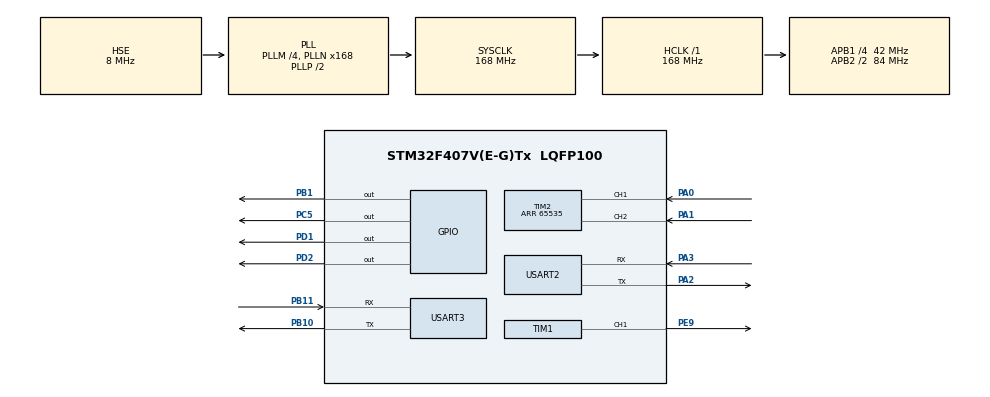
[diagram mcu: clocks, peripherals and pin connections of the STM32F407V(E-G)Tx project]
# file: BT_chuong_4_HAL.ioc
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Dma.Request0=USART2_RX
Dma.Request1=USART2_TX
Dma.Request2=USART3_RX
Dma.Request3=USART3_TX
Dma.USART2_RX.0.Direction=DMA_PERIPH_TO_MEMORY
Dma.USART2_RX.0.FIFOMode=DMA_FIFOMODE_DISABLE
Dma.USART2_RX.0.Instance=DMA1_Stream5
Dma.USART2_RX.0.MemDataAlignment=DMA_MDATAALIGN_BYTE
Dma.USART2_RX.0.MemInc=DMA_MINC_ENABLE
Dma.USART2_RX.0.Mode=DMA_NORMAL
Dma.USART2_RX.0.PeriphDataAlignment=DMA_PDATAALIGN_BYTE
Dma.USART2_RX.0.PeriphInc=DMA_PINC_DISABLE
Dma.USART2_RX.0.Priority=DMA_PRIORITY_LOW
Dma.USART2_TX.1.Direction=DMA_MEMORY_TO_PERIPH
Dma.USART2_TX.1.FIFOMode=DMA_FIFOMODE_DISABLE
Dma.USART2_TX.1.Instance=DMA1_Stream6
Dma.USART2_TX.1.MemDataAlignment=DMA_MDATAALIGN_BYTE
Dma.USART2_TX.1.MemInc=DMA_MINC_ENABLE
Dma.USART2_TX.1.Mode=DMA_NORMAL
Dma.USART2_TX.1.PeriphDataAlignment=DMA_PDATAALIGN_BYTE
Dma.USART2_TX.1.PeriphInc=DMA_PINC_DISABLE
Dma.USART2_TX.1.Priority=DMA_PRIORITY_LOW
Dma.USART3_RX.2.Direction=DMA_PERIPH_TO_MEMORY
Dma.USART3_RX.2.FIFOMode=DMA_FIFOMODE_DISABLE
Dma.USART3_RX.2.Instance=DMA1_Stream1
Dma.USART3_RX.2.MemDataAlignment=DMA_MDATAALIGN_BYTE
Dma.USART3_RX.2.MemInc=DMA_MINC_ENABLE
Dma.USART3_RX.2.Mode=DMA_NORMAL
Dma.USART3_RX.2.PeriphDataAlignment=DMA_PDATAALIGN_BYTE
Dma.USART3_RX.2.PeriphInc=DMA_PINC_DISABLE
Dma.USART3_RX.2.Priority=DMA_PRIORITY_LOW
Dma.USART3_TX.3.Direction=DMA_MEMORY_TO_PERIPH
Dma.USART3_TX.3.FIFOMode=DMA_FIFOMODE_DISABLE
Dma.USART3_TX.3.Instance=DMA1_Stream3
Dma.USART3_TX.3.MemDataAlignment=DMA_MDATAALIGN_BYTE
Dma.USART3_TX.3.MemInc=DMA_MINC_ENABLE
Dma.USART3_TX.3.Mode=DMA_NORMAL
Dma.USART3_TX.3.PeriphDataAlignment=DMA_PDATAALIGN_BYTE
Dma.USART3_TX.3.PeriphInc=DMA_PINC_DISABLE
Dma.USART3_TX.3.Priority=DMA_PRIORITY_LOW
Mcu.Family=STM32F4
Mcu.Name=STM32F407V(E-G)Tx
Mcu.Package=LQFP100
NVIC.DMA1_Stream1_IRQn=true\:0\:0\:false\:false\:true\:false\:true\:true
NVIC.DMA1_Stream3_IRQn=true\:0\:0\:false\:false\:true\:false\:true\:true
NVIC.DMA1_Stream5_IRQn=true\:0\:0\:false\:false\:true\:false\:true\:true
NVIC.DMA1_Stream6_IRQn=true\:0\:0\:false\:false\:true\:false\:true\:true
NVIC.PriorityGroup=NVIC_PRIORITYGROUP_4
NVIC.TIM2_IRQn=true\:0\:0\:false\:false\:true\:true\:true\:true
NVIC.TIM3_IRQn=true\:0\:0\:false\:false\:true\:true\:true\:true
NVIC.TIM4_IRQn=true\:0\:0\:false\:false\:true\:true\:true\:true
NVIC.USART2_IRQn=true\:0\:0\:false\:false\:true\:true\:true\:true
NVIC.USART3_IRQn=true\:0\:0\:false\:false\:true\:true\:true\:true
PA0-WKUP.Signal=S_TIM2_CH1_ETR
PA1.Signal=S_TIM2_CH2
PA13.Mode=Serial_Wire
PA13.Signal=SYS_JTMS-SWDIO
PA14.Mode=Serial_Wire
PA14.Signal=SYS_JTCK-SWCLK
PA2.Mode=Asynchronous
PA2.Signal=USART2_TX
PA3.Mode=Asynchronous
PA3.Signal=USART2_RX
PB1.Signal=GPIO_Output
PB10.Mode=Asynchronous
PB10.Signal=USART3_TX
PB11.Mode=Asynchronous
PB11.Signal=USART3_RX
PC5.Signal=GPIO_Output
PD1.Signal=GPIO_Output
PD2.Signal=GPIO_Output
PE9.Signal=S_TIM1_CH1
PH0-OSC_IN.Mode=HSE-External-Oscillator
PH0-OSC_IN.Signal=RCC_OSC_IN
PH1-OSC_OUT.Mode=HSE-External-Oscillator
PH1-OSC_OUT.Signal=RCC_OSC_OUT
ProjectManager.HeapSize=0x200
ProjectManager.StackSize=0x400
ProjectManager.TargetToolchain=MDK-ARM V5.32
RCC.48MHZClocksFreq_Value=84000000
RCC.AHBFreq_Value=168000000
RCC.APB1CLKDivider=RCC_HCLK_DIV4
RCC.APB1Freq_Value=42000000
RCC.APB1TimFreq_Value=84000000
RCC.APB2CLKDivider=RCC_HCLK_DIV2
RCC.APB2Freq_Value=84000000
RCC.APB2TimFreq_Value=168000000
RCC.CortexFreq_Value=168000000
RCC.HCLKFreq_Value=168000000
RCC.HSE_VALUE=8000000
RCC.HSI_VALUE=16000000
RCC.LSE_VALUE=32768
RCC.PLLM=4
RCC.PLLN=168
RCC.PLLSourceVirtual=RCC_PLLSOURCE_HSE
RCC.SYSCLKFreq_VALUE=168000000
RCC.SYSCLKSource=RCC_SYSCLKSOURCE_PLLCLK
RCC.VCOOutputFreq_Value=336000000
SH.S_TIM1_CH1.0=TIM1_CH1,PWM Generation1 CH1
SH.S_TIM2_CH1_ETR.0=TIM2_CH1,Encoder_Interface
SH.S_TIM2_CH2.0=TIM2_CH2,Encoder_Interface
TIM1.Channel-PWM\ Generation1\ CH1=TIM_CHANNEL_1
TIM1.Period=199
TIM1.Prescaler=41
TIM2.EncoderMode=TIM_ENCODERMODE_TI12
TIM2.IC1Filter=10
TIM2.IC2Filter=10
TIM2.Period=65535
TIM3.Period=999
TIM3.Prescaler=83
TIM4.Period=999
TIM4.Prescaler=8399
USART2.VirtualMode=VM_ASYNC
USART3.VirtualMode=VM_ASYNC
VP_TIM1_VS_ClockSourceINT.Mode=Internal
VP_TIM3_VS_ClockSourceINT.Mode=Internal
VP_TIM4_VS_ClockSourceINT.Mode=Internal
board=custom

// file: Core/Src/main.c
/* USER CODE BEGIN Header */
/**
  ******************************************************************************
  * @file           : main.c
  * @brief          : Main program body
  ******************************************************************************
  * @attention
  *
  * Copyright (c) 2023 STMicroelectronics.
  * All rights reserved.
  *
  * This software is licensed under terms that can be found in the LICENSE file
  * in the root directory of this software component.
  * If no LICENSE file comes with this software, it is provided AS-IS.
  *
  ******************************************************************************
  */
/* USER CODE END Header */
#include "main.h"

/* USER CODE BEGIN Includes */
#include <stdbool.h>
#include <string.h>
#include <math.h>
#include <stdint.h>
/* USER CODE END Includes */

/* USER CODE BEGIN PD */
#define PULSE_PER_REVOLUTION 260
#define RX_BUFF_SIZE 20
#define TX_BUFF_SIZE 20
#define SET_TARGET_POSITION 0x01
#define SET_MODE_READ_ENCODER 0x02
#define SET_PID_PARAMTER 0x03

/* USER CODE END PD */

TIM_HandleTypeDef htim1;
TIM_HandleTypeDef htim2;
TIM_HandleTypeDef htim3;
TIM_HandleTypeDef htim4;

UART_HandleTypeDef huart2;
UART_HandleTypeDef huart3;
DMA_HandleTypeDef hdma_usart2_rx;
DMA_HandleTypeDef hdma_usart2_tx;
DMA_HandleTypeDef hdma_usart3_rx;
DMA_HandleTypeDef hdma_usart3_tx;

/* USER CODE BEGIN PV */

// Variables for reading encoder
uint8_t encoder_mode = 4; // mode x1 and x4
volatile short enc_val = 0; // encoder value
volatile short enc_val_x1 = 0;// encoder value at mode x1
int8_t encoder_direction_CCW; // 1 = clockwise, 0 = counter clockwise
int8_t motor_direction; // 1 = clockwise, 0 = counter clockwise
float current_position = 0.0; // unit deg

// Variables for setpoint value
float target_position = 0; // unit deg

// Variables for control motor
uint16_t PWMvalue = 0;

// Variables for PID
bool start_pid = false;
float K_p = 0.5; 	//k_p = 0.28
float K_i = 0.0003; //k_i = 0.0001
float K_d = 0.1; 		//k_d = 0.1

// PID_related
//float e_dot = 0;
//float error_I = 0;

//float pre_control_signal = 0; // pre u
//float pre_previous_error = 0; // for calculating the derivative (edot)

float error_value = 0; //error
float previous_error = 0; //for calculating the derivative (edot)
float P_part, I_part, D_part;
float control_signal = 0; //u - Also called as process variable (PV)
float T = 0.001; // control period in s (1ms)

// Variables for sending data through Usart
uint8_t Rx_buff[RX_BUFF_SIZE];
uint8_t Tx_buff[TX_BUFF_SIZE];
uint8_t main_buff[RX_BUFF_SIZE];
uint8_t sub_main_buff[4];
bool update_paramter = false;
/* USER CODE END PV */

void SystemClock_Config(void);
static void MX_GPIO_Init(void);
static void MX_DMA_Init(void);
static void MX_TIM1_Init(void);
static void MX_TIM2_Init(void);
static void MX_USART2_UART_Init(void);
static void MX_TIM3_Init(void);
static void MX_TIM4_Init(void);
static void MX_USART3_UART_Init(void);
/* USER CODE BEGIN PFP */
// Auxiliary function
float convertUint8ArrayToFloat(uint8_t array[4]);
void floatToByteArray(float floatValue, uint8_t byteArray[4]);

// function for motor
void calculateAnglePosition(void);
void calculatePID(void);
void driveMotor(void);

// function for uart
void sendCurrentPosition(void);

/* USER CODE END PFP */

int main(void)
{

  /* MCU Configuration--------------------------------------------------------*/

  /* Reset of all peripherals, Initializes the Flash interface and the Systick. */
  HAL_Init();

  /* Configure the system clock */
  SystemClock_Config();

  /* Initialize all configured peripherals */
  MX_GPIO_Init();
  MX_DMA_Init();
  MX_TIM1_Init();
  MX_TIM2_Init();
  MX_USART2_UART_Init();
  MX_TIM3_Init();
  MX_TIM4_Init();
  MX_USART3_UART_Init();
  /* USER CODE BEGIN 2 */
	HAL_TIM_PWM_Start(&htim1,TIM_CHANNEL_1); // start timer1 for pwm

	HAL_TIM_IC_Start_IT(&htim2,TIM_CHANNEL_1);  // start timer2 input capture to read encoder mode x1
	HAL_TIM_IC_Start_IT(&htim2,TIM_CHANNEL_2);
	HAL_TIM_Encoder_Start(&htim2,TIM_CHANNEL_1); // start timer2 encoder interface to read encoder mode x4
	HAL_TIM_Encoder_Start(&htim2,TIM_CHANNEL_2);

	HAL_TIM_Base_Start_IT(&htim3); // start timer for 1ms pid control cycle
	HAL_TIM_Base_Start_IT(&htim4); // start timer for 100ms send current position

	HAL_UARTEx_ReceiveToIdle_DMA(&huart3, Rx_buff, RX_BUFF_SIZE); // start uart2 rx dma idle
  /* USER CODE END 2 */

  /* Infinite loop */
  while (1)
  {

    /* USER CODE BEGIN 3 */
		if (start_pid)
		{
			start_pid = false;
			calculateAnglePosition();
			calculatePID();
			driveMotor();
			sendCurrentPosition();
		}
		if (update_paramter)
		{
			update_paramter = false;
			switch (main_buff[3])
			{
				case SET_MODE_READ_ENCODER:
					encoder_mode = main_buff[4];
				break;

				case SET_TARGET_POSITION:
					for (uint8_t i = 0; i < 4; i++)
					{
						sub_main_buff[i] = main_buff[i+4];
					}
					target_position = convertUint8ArrayToFloat(sub_main_buff);
				break;

				case SET_PID_PARAMTER:
					for (uint8_t i = 0; i < 4; i++)
					{
						sub_main_buff[i] = main_buff[i+4];
					}
					K_p = convertUint8ArrayToFloat(sub_main_buff);
					for (uint8_t i = 0; i < 4; i++)
					{
						sub_main_buff[i] = main_buff[i+8];
					}
					K_d = convertUint8ArrayToFloat(sub_main_buff);
					for (uint8_t i = 0; i < 4; i++)
					{
						sub_main_buff[i] = main_buff[i+12];
					}
					K_i = convertUint8ArrayToFloat(sub_main_buff);
				break;
			}
		}
  }
  /* USER CODE END 3 */
}

void SystemClock_Config(void)
{
  RCC_OscInitTypeDef RCC_OscInitStruct = {0};
  RCC_ClkInitTypeDef RCC_ClkInitStruct = {0};

  /** Configure the main internal regulator output voltage
  */
  __HAL_RCC_PWR_CLK_ENABLE();
  __HAL_PWR_VOLTAGESCALING_CONFIG(PWR_REGULATOR_VOLTAGE_SCALE1);

  /** Initializes the RCC Oscillators according to the specified parameters
  * in the RCC_OscInitTypeDef structure.
  */
  RCC_OscInitStruct.OscillatorType = RCC_OSCILLATORTYPE_HSE;
  RCC_OscInitStruct.HSEState = RCC_HSE_ON;
  RCC_OscInitStruct.PLL.PLLState = RCC_PLL_ON;
  RCC_OscInitStruct.PLL.PLLSource = RCC_PLLSOURCE_HSE;
  RCC_OscInitStruct.PLL.PLLM = 4;
  RCC_OscInitStruct.PLL.PLLN = 168;
  RCC_OscInitStruct.PLL.PLLP = RCC_PLLP_DIV2;
  RCC_OscInitStruct.PLL.PLLQ = 4;
  if (HAL_RCC_OscConfig(&RCC_OscInitStruct) != HAL_OK)
  {
    Error_Handler();
  }

  /** Initializes the CPU, AHB and APB buses clocks
  */
  RCC_ClkInitStruct.ClockType = RCC_CLOCKTYPE_HCLK|RCC_CLOCKTYPE_SYSCLK
                              |RCC_CLOCKTYPE_PCLK1|RCC_CLOCKTYPE_PCLK2;
  RCC_ClkInitStruct.SYSCLKSource = RCC_SYSCLKSOURCE_PLLCLK;
  RCC_ClkInitStruct.AHBCLKDivider = RCC_SYSCLK_DIV1;
  RCC_ClkInitStruct.APB1CLKDivider = RCC_HCLK_DIV4;
  RCC_ClkInitStruct.APB2CLKDivider = RCC_HCLK_DIV2;

  if (HAL_RCC_ClockConfig(&RCC_ClkInitStruct, FLASH_LATENCY_5) != HAL_OK)
  {
    Error_Handler();
  }
}

static void MX_TIM1_Init(void)
{

  TIM_ClockConfigTypeDef sClockSourceConfig = {0};
  TIM_MasterConfigTypeDef sMasterConfig = {0};
  TIM_OC_InitTypeDef sConfigOC = {0};
  TIM_BreakDeadTimeConfigTypeDef sBreakDeadTimeConfig = {0};

  htim1.Instance = TIM1;
  htim1.Init.Prescaler = 41;
  htim1.Init.CounterMode = TIM_COUNTERMODE_UP;
  htim1.Init.Period = 199;
  htim1.Init.ClockDivision = TIM_CLOCKDIVISION_DIV1;
  htim1.Init.RepetitionCounter = 0;
  htim1.Init.AutoReloadPreload = TIM_AUTORELOAD_PRELOAD_DISABLE;
  if (HAL_TIM_Base_Init(&htim1) != HAL_OK)
  {
    Error_Handler();
  }
  sClockSourceConfig.ClockSource = TIM_CLOCKSOURCE_INTERNAL;
  if (HAL_TIM_ConfigClockSource(&htim1, &sClockSourceConfig) != HAL_OK)
  {
    Error_Handler();
  }
  if (HAL_TIM_PWM_Init(&htim1) != HAL_OK)
  {
    Error_Handler();
  }
  sMasterConfig.MasterOutputTrigger = TIM_TRGO_RESET;
  sMasterConfig.MasterSlaveMode = TIM_MASTERSLAVEMODE_DISABLE;
  if (HAL_TIMEx_MasterConfigSynchronization(&htim1, &sMasterConfig) != HAL_OK)
  {
    Error_Handler();
  }
  sConfigOC.OCMode = TIM_OCMODE_PWM1;
  sConfigOC.Pulse = 0;
  sConfigOC.OCPolarity = TIM_OCPOLARITY_HIGH;
  sConfigOC.OCNPolarity = TIM_OCNPOLARITY_HIGH;
  sConfigOC.OCFastMode = TIM_OCFAST_DISABLE;
  sConfigOC.OCIdleState = TIM_OCIDLESTATE_RESET;
  sConfigOC.OCNIdleState = TIM_OCNIDLESTATE_RESET;
  if (HAL_TIM_PWM_ConfigChannel(&htim1, &sConfigOC, TIM_CHANNEL_1) != HAL_OK)
  {
    Error_Handler();
  }
  sBreakDeadTimeConfig.OffStateRunMode = TIM_OSSR_DISABLE;
  sBreakDeadTimeConfig.OffStateIDLEMode = TIM_OSSI_DISABLE;
  sBreakDeadTimeConfig.LockLevel = TIM_LOCKLEVEL_OFF;
  sBreakDeadTimeConfig.DeadTime = 0;
  sBreakDeadTimeConfig.BreakState = TIM_BREAK_DISABLE;
  sBreakDeadTimeConfig.BreakPolarity = TIM_BREAKPOLARITY_HIGH;
  sBreakDeadTimeConfig.AutomaticOutput = TIM_AUTOMATICOUTPUT_DISABLE;
  if (HAL_TIMEx_ConfigBreakDeadTime(&htim1, &sBreakDeadTimeConfig) != HAL_OK)
  {
    Error_Handler();
  }
  HAL_TIM_MspPostInit(&htim1);

}

static void MX_TIM2_Init(void)
{

  TIM_Encoder_InitTypeDef sConfig = {0};
  TIM_MasterConfigTypeDef sMasterConfig = {0};

  htim2.Instance = TIM2;
  htim2.Init.Prescaler = 0;
  htim2.Init.CounterMode = TIM_COUNTERMODE_UP;
  htim2.Init.Period = 65535;
  htim2.Init.ClockDivision = TIM_CLOCKDIVISION_DIV1;
  htim2.Init.AutoReloadPreload = TIM_AUTORELOAD_PRELOAD_DISABLE;
  sConfig.EncoderMode = TIM_ENCODERMODE_TI12;
  sConfig.IC1Polarity = TIM_ICPOLARITY_RISING;
  sConfig.IC1Selection = TIM_ICSELECTION_DIRECTTI;
  sConfig.IC1Prescaler = TIM_ICPSC_DIV1;
  sConfig.IC1Filter = 10;
  sConfig.IC2Polarity = TIM_ICPOLARITY_RISING;
  sConfig.IC2Selection = TIM_ICSELECTION_DIRECTTI;
  sConfig.IC2Prescaler = TIM_ICPSC_DIV1;
  sConfig.IC2Filter = 10;
  if (HAL_TIM_Encoder_Init(&htim2, &sConfig) != HAL_OK)
  {
    Error_Handler();
  }
  sMasterConfig.MasterOutputTrigger = TIM_TRGO_RESET;
  sMasterConfig.MasterSlaveMode = TIM_MASTERSLAVEMODE_DISABLE;
  if (HAL_TIMEx_MasterConfigSynchronization(&htim2, &sMasterConfig) != HAL_OK)
  {
    Error_Handler();
  }

}

static void MX_TIM3_Init(void)
{

  TIM_ClockConfigTypeDef sClockSourceConfig = {0};
  TIM_MasterConfigTypeDef sMasterConfig = {0};

  htim3.Instance = TIM3;
  htim3.Init.Prescaler = 83;
  htim3.Init.CounterMode = TIM_COUNTERMODE_UP;
  htim3.Init.Period = 999;
  htim3.Init.ClockDivision = TIM_CLOCKDIVISION_DIV1;
  htim3.Init.AutoReloadPreload = TIM_AUTORELOAD_PRELOAD_DISABLE;
  if (HAL_TIM_Base_Init(&htim3) != HAL_OK)
  {
    Error_Handler();
  }
  sClockSourceConfig.ClockSource = TIM_CLOCKSOURCE_INTERNAL;
  if (HAL_TIM_ConfigClockSource(&htim3, &sClockSourceConfig) != HAL_OK)
  {
    Error_Handler();
  }
  sMasterConfig.MasterOutputTrigger = TIM_TRGO_RESET;
  sMasterConfig.MasterSlaveMode = TIM_MASTERSLAVEMODE_DISABLE;
  if (HAL_TIMEx_MasterConfigSynchronization(&htim3, &sMasterConfig) != HAL_OK)
  {
    Error_Handler();
  }

}

static void MX_TIM4_Init(void)
{

  TIM_ClockConfigTypeDef sClockSourceConfig = {0};
  TIM_MasterConfigTypeDef sMasterConfig = {0};

  htim4.Instance = TIM4;
  htim4.Init.Prescaler = 8399;
  htim4.Init.CounterMode = TIM_COUNTERMODE_UP;
  htim4.Init.Period = 999;
  htim4.Init.ClockDivision = TIM_CLOCKDIVISION_DIV1;
  htim4.Init.AutoReloadPreload = TIM_AUTORELOAD_PRELOAD_DISABLE;
  if (HAL_TIM_Base_Init(&htim4) != HAL_OK)
  {
    Error_Handler();
  }
  sClockSourceConfig.ClockSource = TIM_CLOCKSOURCE_INTERNAL;
  if (HAL_TIM_ConfigClockSource(&htim4, &sClockSourceConfig) != HAL_OK)
  {
    Error_Handler();
  }
  sMasterConfig.MasterOutputTrigger = TIM_TRGO_RESET;
  sMasterConfig.MasterSlaveMode = TIM_MASTERSLAVEMODE_DISABLE;
  if (HAL_TIMEx_MasterConfigSynchronization(&htim4, &sMasterConfig) != HAL_OK)
  {
    Error_Handler();
  }

}

static void MX_USART2_UART_Init(void)
{

  huart2.Instance = USART2;
  huart2.Init.BaudRate = 115200;
  huart2.Init.WordLength = UART_WORDLENGTH_8B;
  huart2.Init.StopBits = UART_STOPBITS_1;
  huart2.Init.Parity = UART_PARITY_NONE;
  huart2.Init.Mode = UART_MODE_TX_RX;
  huart2.Init.HwFlowCtl = UART_HWCONTROL_NONE;
  huart2.Init.OverSampling = UART_OVERSAMPLING_16;
  if (HAL_UART_Init(&huart2) != HAL_OK)
  {
    Error_Handler();
  }

}

static void MX_USART3_UART_Init(void)
{

  huart3.Instance = USART3;
  huart3.Init.BaudRate = 115200;
  huart3.Init.WordLength = UART_WORDLENGTH_8B;
  huart3.Init.StopBits = UART_STOPBITS_1;
  huart3.Init.Parity = UART_PARITY_NONE;
  huart3.Init.Mode = UART_MODE_TX_RX;
  huart3.Init.HwFlowCtl = UART_HWCONTROL_NONE;
  huart3.Init.OverSampling = UART_OVERSAMPLING_16;
  if (HAL_UART_Init(&huart3) != HAL_OK)
  {
    Error_Handler();
  }

}

static void MX_DMA_Init(void)
{

  /* DMA controller clock enable */
  __HAL_RCC_DMA1_CLK_ENABLE();

  /* DMA interrupt init */
  /* DMA1_Stream1_IRQn interrupt configuration */
  HAL_NVIC_SetPriority(DMA1_Stream1_IRQn, 0, 0);
  HAL_NVIC_EnableIRQ(DMA1_Stream1_IRQn);
  /* DMA1_Stream3_IRQn interrupt configuration */
  HAL_NVIC_SetPriority(DMA1_Stream3_IRQn, 0, 0);
  HAL_NVIC_EnableIRQ(DMA1_Stream3_IRQn);
  /* DMA1_Stream5_IRQn interrupt configuration */
  HAL_NVIC_SetPriority(DMA1_Stream5_IRQn, 0, 0);
  HAL_NVIC_EnableIRQ(DMA1_Stream5_IRQn);
  /* DMA1_Stream6_IRQn interrupt configuration */
  HAL_NVIC_SetPriority(DMA1_Stream6_IRQn, 0, 0);
  HAL_NVIC_EnableIRQ(DMA1_Stream6_IRQn);

}

static void MX_GPIO_Init(void)
{
  GPIO_InitTypeDef GPIO_InitStruct = {0};

  /* GPIO Ports Clock Enable */
  __HAL_RCC_GPIOH_CLK_ENABLE();
  __HAL_RCC_GPIOA_CLK_ENABLE();
  __HAL_RCC_GPIOC_CLK_ENABLE();
  __HAL_RCC_GPIOB_CLK_ENABLE();
  __HAL_RCC_GPIOE_CLK_ENABLE();
  __HAL_RCC_GPIOD_CLK_ENABLE();

  /*Configure GPIO pin Output Level */
  HAL_GPIO_WritePin(GPIOC, GPIO_PIN_5, GPIO_PIN_RESET);

  /*Configure GPIO pin Output Level */
  HAL_GPIO_WritePin(GPIOB, GPIO_PIN_1, GPIO_PIN_RESET);

  /*Configure GPIO pin Output Level */
  HAL_GPIO_WritePin(GPIOD, GPIO_PIN_1|GPIO_PIN_2, GPIO_PIN_RESET);

  /*Configure GPIO pin : PC5 */
  GPIO_InitStruct.Pin = GPIO_PIN_5;
  GPIO_InitStruct.Mode = GPIO_MODE_OUTPUT_PP;
  GPIO_InitStruct.Pull = GPIO_NOPULL;
  GPIO_InitStruct.Speed = GPIO_SPEED_FREQ_LOW;
  HAL_GPIO_Init(GPIOC, &GPIO_InitStruct);

  /*Configure GPIO pin : PB1 */
  GPIO_InitStruct.Pin = GPIO_PIN_1;
  GPIO_InitStruct.Mode = GPIO_MODE_OUTPUT_PP;
  GPIO_InitStruct.Pull = GPIO_NOPULL;
  GPIO_InitStruct.Speed = GPIO_SPEED_FREQ_LOW;
  HAL_GPIO_Init(GPIOB, &GPIO_InitStruct);

  /*Configure GPIO pins : PD1 PD2 */
  GPIO_InitStruct.Pin = GPIO_PIN_1|GPIO_PIN_2;
  GPIO_InitStruct.Mode = GPIO_MODE_OUTPUT_PP;
  GPIO_InitStruct.Pull = GPIO_NOPULL;
  GPIO_InitStruct.Speed = GPIO_SPEED_FREQ_LOW;
  HAL_GPIO_Init(GPIOD, &GPIO_InitStruct);

}

/* USER CODE BEGIN 4 */
// handles data of Rx_buff when complete receive MAX_LEN byte from pc
void HAL_UARTEx_RxEventCallback(UART_HandleTypeDef *huart, uint16_t Size)
{
		if(huart->Instance == huart3.Instance)
		{
			memcpy(main_buff, Rx_buff, Size); // get data
			if (main_buff[0] == 0x0A && main_buff[1] == 0x55 && (Size - 4) == main_buff[2]) // check header and length
			{
				memcpy(Tx_buff, main_buff, Size);
				Tx_buff[Size-1] = 0x06; // change SYNC to ACK
				HAL_UART_Transmit_DMA(&huart3, Tx_buff, Size); // send back to pc
				update_paramter = true; // turn on flag
			}
			HAL_UARTEx_ReceiveToIdle_DMA(&huart3, Rx_buff, RX_BUFF_SIZE); // start uart rx DMA again
		}
}

// timer 2 interup input capture to read encoder
void HAL_TIM_IC_CaptureCallback(TIM_HandleTypeDef *htim)
{
  /* Prevent unused argument(s) compilation warning */
  UNUSED(htim);
	/* read encoder mode x1 */
	if (encoder_mode == 1)
	{
		encoder_direction_CCW =__HAL_TIM_IS_TIM_COUNTING_DOWN(&htim2);
		if (htim->Channel == HAL_TIM_ACTIVE_CHANNEL_1)
		{
			if (encoder_direction_CCW == 1)
			{
				enc_val_x1--;
			}
			else if (encoder_direction_CCW == 0)
			{
				enc_val_x1++;
			}
		}
		enc_val = enc_val_x1;
	}

	/* read encoder mode x4 */
	if (encoder_mode == 4){
		enc_val = __HAL_TIM_GET_COUNTER(&htim2) ;
	}
}

// timer3 call back every 1ms for PID control, timer 4 call back every 100ms to send current position
void HAL_TIM_PeriodElapsedCallback(TIM_HandleTypeDef *htim)
{
	if(htim->Instance == TIM3)
	{
		start_pid = true; // turn on flag
	}
//	if(htim->Instance == TIM4)
//	{
//		sendCurrentPosition();
//	}
}

void calculateAnglePosition(void)
{
	current_position = (enc_val * 360)/(encoder_mode * PULSE_PER_REVOLUTION);
	if(current_position > 361)
	{
		enc_val = enc_val % (encoder_mode * PULSE_PER_REVOLUTION);
		current_position = (enc_val * 360)/(encoder_mode * PULSE_PER_REVOLUTION);
	}
	if(current_position < -361)
	{
		enc_val = enc_val % (encoder_mode * PULSE_PER_REVOLUTION);
		current_position = (enc_val * 360)/(encoder_mode * PULSE_PER_REVOLUTION);
	}
}

void calculatePID(void)
{
/* old ver */
//  error_value =  target_position - current_position;
//	P_part = K_p * (error_value - previous_error);
//	I_part = 0.5 * K_i * T * (error_value + previous_error);
//	D_part = (K_d * (error_value - 2 * previous_error + pre_previous_error))/T;

//  control_signal = pre_control_signal + P_part + I_part + D_part;
//
//	if (control_signal > 199) control_signal = 199;
//	if (control_signal < -1 && control_signal > -13) control_signal = -13;
//	if (control_signal < -199) control_signal = -199;
//  if (control_signal > 1 && control_signal < 13) control_signal = 13;
//
//	/* save previous value for the next calculated iteration */
//	pre_previous_error = previous_error;
//  previous_error = error_value;
//	pre_control_signal = control_signal;

/* new ver */
		error_value =   target_position - current_position ;
		P_part = (K_p*error_value);
		I_part = I_part + K_i*error_value*T;
		D_part = K_d*(error_value - previous_error)/T;
		control_signal = P_part + D_part + I_part;
		previous_error = error_value;
}

void driveMotor(void)
{
/* old ver */
//Determine speed and direction based on the value of the control signal
//direction
//  if (control_signal < 0) //negative value: CCW
//  {
//		motor_direction = -1;
//		PWMvalue = (uint16_t)(fabs(control_signal)); //PWM values cannot be negative and have to be integers
//		HAL_GPIO_WritePin(GPIOD,GPIO_PIN_1,GPIO_PIN_RESET);
//		HAL_GPIO_WritePin(GPIOD,GPIO_PIN_2,GPIO_PIN_SET);
//  }
//  else if (control_signal > 0) //positive: CW
//  {
//		motor_direction = 1;
//		PWMvalue = (uint16_t)control_signal;
//		HAL_GPIO_WritePin(GPIOD,GPIO_PIN_1,GPIO_PIN_SET);
//		HAL_GPIO_WritePin(GPIOD,GPIO_PIN_2,GPIO_PIN_RESET);
//  }
//  else //0: STOP - this might be a bad practice when you overshoot the setpoint
//  {
//		motor_direction = 0;
//		PWMvalue = 0;
//		HAL_GPIO_WritePin(GPIOD,GPIO_PIN_1,GPIO_PIN_RESET);
//		HAL_GPIO_WritePin(GPIOD,GPIO_PIN_2,GPIO_PIN_RESET);
//  }
//	if (PWMvalue > 199)
//	{
//		PWMvalue = 199;
//	}
//	if (PWMvalue < 11 && fabs(error_value) != 0)
//	{
//		PWMvalue = 11;
//	}

/* new ver */
		if (control_signal < 0)
		{
			motor_direction = -1;
		}
		else if (control_signal > 0)
		{
			motor_direction = 1;
		}
		else
		{
			motor_direction = 0;
		}

		PWMvalue = (uint16_t)fabs(control_signal);

		if (PWMvalue > 199)
		{
			PWMvalue = 199;
		}
		if (PWMvalue < 12 && error_value != 0)
		{
			PWMvalue = 12;
		}
		if (motor_direction == -1)
		{
			HAL_GPIO_WritePin(GPIOB,GPIO_PIN_1,GPIO_PIN_RESET);
			HAL_GPIO_WritePin(GPIOC,GPIO_PIN_5,GPIO_PIN_SET);
		}
		else if (motor_direction == 1)
		{
			HAL_GPIO_WritePin(GPIOB,GPIO_PIN_1,GPIO_PIN_SET);
			HAL_GPIO_WritePin(GPIOC,GPIO_PIN_5,GPIO_PIN_RESET);
		}
		else
		{
			HAL_GPIO_WritePin(GPIOB,GPIO_PIN_1,GPIO_PIN_RESET);
			HAL_GPIO_WritePin(GPIOC,GPIO_PIN_5,GPIO_PIN_RESET);
			PWMvalue  = 0;
		}
  //Then we set the motor speed
  __HAL_TIM_SetCompare(&htim1,TIM_CHANNEL_1,PWMvalue);
}

float convertUint8ArrayToFloat(uint8_t array[4])
{
    uint32_t uintValue = *(uint32_t*)array;
    float floatValue = *(float*)&uintValue;
    return floatValue;
}

void floatToByteArray(float floatValue, uint8_t byteArray[4])
{
    uint8_t *bytePtr = (uint8_t*)&floatValue;
    for (int i = 0; i < 4; i++) {
        byteArray[i] = bytePtr[i];
    }
}

void sendCurrentPosition(void)
{
	Tx_buff[0] = 0x0A;
	Tx_buff[1] = 0x55;
	Tx_buff[2] = 0x05;
	Tx_buff[3] = 0x04;
	floatToByteArray(current_position,sub_main_buff);
	for(uint8_t i = 0; i < 4; i++)
	{
		Tx_buff[i+4] = sub_main_buff[i];
	}
	Tx_buff[8] = 0x06;
	HAL_UART_Transmit_DMA(&huart3,Tx_buff,9);
}

/* USER CODE END 4 */

void Error_Handler(void)
{
  __disable_irq();
  while (1)
  {
  }
}
